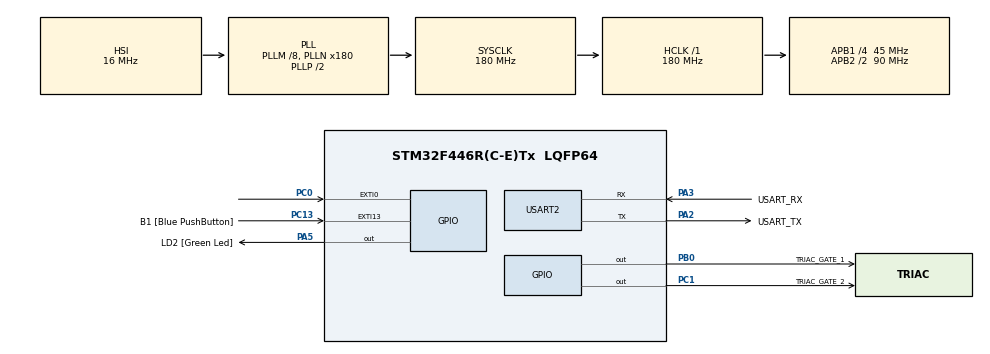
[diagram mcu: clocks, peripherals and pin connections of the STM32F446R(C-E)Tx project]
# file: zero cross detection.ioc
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Mcu.Family=STM32F4
Mcu.Name=STM32F446R(C-E)Tx
Mcu.Package=LQFP64
NVIC.EXTI0_IRQn=true\:0\:0\:false\:false\:true\:true\:true\:true
NVIC.EXTI15_10_IRQn=true\:0\:0\:false\:false\:true\:true\:true\:true
NVIC.PriorityGroup=NVIC_PRIORITYGROUP_0
NVIC.TIM3_IRQn=true\:1\:0\:false\:false\:true\:true\:true\:true
NVIC.USART2_IRQn=true\:2\:0\:false\:false\:true\:true\:true\:true
PA13.GPIO_Label=TMS
PA13.Mode=Serial_Wire
PA13.Signal=SYS_JTMS-SWDIO
PA14.GPIO_Label=TCK
PA14.Mode=Serial_Wire
PA14.Signal=SYS_JTCK-SWCLK
PA2.GPIO_Label=USART_TX
PA2.Mode=Asynchronous
PA2.Signal=USART2_TX
PA3.GPIO_Label=USART_RX
PA3.Mode=Asynchronous
PA3.Signal=USART2_RX
PA5.GPIO_Label=LD2 [Green Led]
PA5.GPIO_PuPd=GPIO_NOPULL
PA5.Signal=GPIO_Output
PB0.GPIO_Label=TRIAC_GATE_1
PB0.GPIO_Speed=GPIO_SPEED_FREQ_HIGH
PB0.Signal=GPIO_Output
PC1.GPIO_Label=TRIAC_GATE_2
PC1.GPIO_Speed=GPIO_SPEED_FREQ_HIGH
PC1.Signal=GPIO_Output
PB3.GPIO_Label=SWO
PB3.Signal=SYS_JTDO-SWO
PC0.GPIO_ModeDefaultEXTI=GPIO_MODE_IT_RISING
PC0.GPIO_PuPd=GPIO_PULLUP
PC0.Signal=GPXTI0
PC13.GPIO_Label=B1 [Blue PushButton]
PC13.GPIO_ModeDefaultEXTI=GPIO_MODE_IT_FALLING
PC13.Signal=GPXTI13
PC14-OSC32_IN.Mode=LSE-External-Oscillator
PC14-OSC32_IN.Signal=RCC_OSC32_IN
PC15-OSC32_OUT.Mode=LSE-External-Oscillator
PC15-OSC32_OUT.Signal=RCC_OSC32_OUT
PH0-OSC_IN.Mode=HSE-External-Oscillator
PH0-OSC_IN.Signal=RCC_OSC_IN
PH1-OSC_OUT.Mode=HSE-External-Oscillator
PH1-OSC_OUT.Signal=RCC_OSC_OUT
ProjectManager.HeapSize=0x200
ProjectManager.StackSize=0x400
ProjectManager.TargetToolchain=STM32CubeIDE
RCC.48MHZClocksFreq_Value=84000000
RCC.AHBFreq_Value=180000000
RCC.APB1CLKDivider=RCC_HCLK_DIV4
RCC.APB1Freq_Value=45000000
RCC.APB1TimFreq_Value=90000000
RCC.APB2CLKDivider=RCC_HCLK_DIV2
RCC.APB2Freq_Value=90000000
RCC.APB2TimFreq_Value=180000000
RCC.CortexFreq_Value=180000000
RCC.FLatency-AdvancedSettings=FLASH_LATENCY_5
RCC.HCLKFreq_Value=180000000
RCC.HSE_VALUE=8000000
RCC.HSI_VALUE=16000000
RCC.PLLM=8
RCC.PLLN=180
RCC.SYSCLKFreq_VALUE=180000000
RCC.SYSCLKSource=RCC_SYSCLKSOURCE_PLLCLK
RCC.USBFreq_Value=180000000
RCC.VCOOutputFreq_Value=360000000
TIM2.Prescaler=89
TIM3.Prescaler=89
TIM3.Period=10000
USART2.VirtualMode=VM_ASYNC
VP_TIM2_VS_ClockSourceINT.Mode=Internal
VP_TIM3_VS_ClockSourceINT.Mode=Internal
board=NUCLEO-F446RE

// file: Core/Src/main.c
/* USER CODE BEGIN Header */
/**
  ******************************************************************************
  * @file           : main.c
  * @brief          : Digital Phase Controller (TCA785-like)
  ******************************************************************************
  * HARDWARE (STM32 Nucleo F446RE):
  *   PC0  = Zero Cross input  (H11AA1 optocoupler, rising edge EXTI)
  *   PB0  = TRIAC gate output (active HIGH pulse)
  *   PA5  = LD2 LED — toggles on each zero crossing
  *   PA2  = USART2 TX (115200 baud)
  *   PA3  = USART2 RX (115200 baud)
  *
  * HOW IT WORKS:
  *   1. EXTI0 fires on PC0 rising edge (zero crossing detected)
  *   2. ISR resets TIM3, loads firing_delay into CCR1, starts TIM3
  *   3. TIM3 CC1 interrupt fires after firing_delay microseconds
  *   4. CC1 ISR drives PB0 HIGH for gate_pulse_width, then LOW
  *   5. User sends "P=xx" via UART to set power level (0-100%)
  *
  * FORMULA:
  *   firing_delay_us = (100 - power_level) * 100
  *   e.g. P=50 → delay=5000us, P=100 → delay=0us, P=0 → delay=10000us
  ******************************************************************************
  */
/* USER CODE END Header */
#include "main.h"

/* USER CODE BEGIN Includes */
#include <stdio.h>
#include <string.h>
#include <stdlib.h>
/* USER CODE END Includes */

/* USER CODE BEGIN PD */
#define HALF_CYCLE_US      10000    /* 10ms half-cycle for 50Hz AC             */
#define GATE_PULSE_US      100      /* 100us gate pulse width                  */
#define ZCD_OFFSET_US      0        /* Optocoupler alignment offset (tune me!) */
#define DEFAULT_POWER      0        /* Default power level at startup (OFF)    */
#define UART_BUF_SIZE      32       /* UART receive buffer size                */
/* USER CODE END PD */

TIM_HandleTypeDef htim2;
TIM_HandleTypeDef htim3;

UART_HandleTypeDef huart2;

/* USER CODE BEGIN PV */
#ifndef TRIAC_GATE_1_Pin
#define TRIAC_GATE_1_Pin GPIO_PIN_0
#define TRIAC_GATE_1_GPIO_Port GPIOB
#define TRIAC_GATE_2_Pin GPIO_PIN_1
#define TRIAC_GATE_2_GPIO_Port GPIOC
#endif

/* ==================== PHASE CONTROL STATE ==================== */
volatile uint32_t power_level    = DEFAULT_POWER;    /* 0-100%                */
volatile uint32_t firing_delay   = HALF_CYCLE_US;    /* Delay in microseconds */

/* ==================== UART RECEIVE STATE ==================== */
uint8_t  uart_rx_byte;                               /* Single byte RX buffer */
char     uart_rx_buf[UART_BUF_SIZE];                 /* Command accumulator   */
uint8_t  uart_rx_idx = 0;                            /* Current index         */
volatile uint8_t new_command = 0;                    /* Flag: command ready   */

/* USER CODE END PV */

void SystemClock_Config(void);
static void MX_GPIO_Init(void);
static void MX_TIM2_Init(void);
static void MX_USART2_UART_Init(void);
/* USER CODE BEGIN PFP */
static void MX_TIM3_Init(void);
/* USER CODE END PFP */

/* USER CODE BEGIN 0 */

/* ======================== HELPER ======================== */
void UART_Print(const char *str)
{
    HAL_UART_Transmit(&huart2, (uint8_t*)str, strlen(str), 100);
}

/* ======================== CALLBACKS ======================== */

/* ==================== ZCD STATE ==================== */
volatile uint32_t last_capture = 0;
volatile uint32_t measured_half_cycle = HALF_CYCLE_US;
volatile uint8_t  is_positive_half = 0;

/**
  * @brief  Zero Crossing ISR — fires on every rising edge on PC0
  *         Resets TIM3, loads firing delay, starts the one-shot timer.
  */
void HAL_GPIO_EXTI_Callback(uint16_t GPIO_Pin)
{
    if (GPIO_Pin == GPIO_PIN_0)
    {
        /* Measure the actual AC frequency period */
        uint32_t now = __HAL_TIM_GET_COUNTER(&htim2);
        uint32_t diff = now - last_capture;

        /* Anti-bounce: Ignore bounces/noise (anything faster than 1ms / 1000Hz) */
        if (diff < 1000) {
            return; /* Absolutely ignore this noise spike! */
        }

        last_capture = now;

        /* If the reading is within reasonable 50/60Hz bounds (e.g. 5ms to 12ms) */
        if (diff >= 5000 && diff <= 12000) {
            /* Apply simple smoothing filter: 80% old, 20% new */
            uint32_t raw_half_cycle = ((measured_half_cycle * 4) + diff) / 5;

            /* Convert half-cycle period directly to frequency (Hz) */
            float freq = 1000000.0f / (float)(raw_half_cycle * 2);

            /* Offset/Snap-to-Grid Logic:
               Lock strictly to 50Hz or 60Hz if we're close (within 1 Hz either way) */
            if (freq >= 49.0f && freq <= 51.0f) {
                measured_half_cycle = 10000;   /* Exactly 50Hz (10,000us half-cycle) */
            }
            else if (freq >= 59.0f && freq <= 61.0f) {
                measured_half_cycle = 8333;    /* Exactly 60Hz (8,333us half-cycle)  */
            }
            else {
                /* If it's a completely weird frequency, just use the raw rounded value */
                measured_half_cycle = raw_half_cycle;
            }
        }

        /* Toggle LED to show zero crossing is being detected */
        HAL_GPIO_TogglePin(LD2_GPIO_Port, LD2_Pin);

        /* Flip our half-cycle state. Starts at 0, first pulse makes it 1 (0-180deg) */
        is_positive_half = !is_positive_half;

        /* Pulse on BOTH the positive and negative half-cycles (0-180 and 180-360) */
        // if (!is_positive_half) {
        //     return;
        // }

        /* 0 = 0 (0% power = no firing) */
        if (power_level == 0)
        {
            HAL_GPIO_WritePin(TRIAC_GATE_1_GPIO_Port, TRIAC_GATE_1_Pin, GPIO_PIN_RESET);
            HAL_GPIO_WritePin(TRIAC_GATE_2_GPIO_Port, TRIAC_GATE_2_Pin, GPIO_PIN_RESET);
            return;
        }

        /* Calculate new delay based on the LIVE measured frequency instead of hardcoded 10ms */
        firing_delay = (uint32_t)(100 - power_level) * (measured_half_cycle / 100);

        /* Apply a slight offset compensation. Optocouplers usually trigger slightly
         * BEFORE or AFTER the true 0V mark. You can tune ZCD_OFFSET_US at the top
         * of the file (e.g. +250 or -100) to perfectly align your scope. */
        int32_t tuned_delay = (int32_t)firing_delay + ZCD_OFFSET_US;

        /* 100% power minimum delay. We need a tiny delay so the AC voltage rises
         * enough to latch the TRIAC. If it's too short, the TRIAC won't turn on. */
        if (tuned_delay < 300) {
            tuned_delay = 300;
        }

        /* 0% power maximum delay. If you want it exactly ON the zero cross,
         * we allow it to go all the way up to measured_half_cycle. */
        if (tuned_delay > (int32_t)measured_half_cycle) {
            tuned_delay = measured_half_cycle;
        }

        /* Normal case: start TIM3 one-shot with firing_delay */
        __HAL_TIM_SET_COUNTER(&htim3, 0);
        __HAL_TIM_SET_COMPARE(&htim3, TIM_CHANNEL_1, (uint32_t)tuned_delay);
        __HAL_TIM_CLEAR_FLAG(&htim3, TIM_FLAG_CC1);
        HAL_TIM_OC_Start_IT(&htim3, TIM_CHANNEL_1);
    }
}
/**
  * @brief  TIM3 Output Compare callback — fires after firing_delay microseconds
  *         Generates TRIAC gate pulse then stops TIM3.
  */
void HAL_TIM_OC_DelayElapsedCallback(TIM_HandleTypeDef *htim)
{
    if (htim->Instance == TIM3)
    {
        /* Stop the timer immediately */
        HAL_TIM_OC_Stop_IT(&htim3, TIM_CHANNEL_1);

        /* Select which pin to fire based on the half-cycle state */
        uint16_t active_pin = is_positive_half ? TRIAC_GATE_1_Pin : TRIAC_GATE_2_Pin;
        GPIO_TypeDef* active_port = is_positive_half ? TRIAC_GATE_1_GPIO_Port : TRIAC_GATE_2_GPIO_Port;

        /* Generate gate pulse: HIGH for GATE_PULSE_US microseconds */
        HAL_GPIO_WritePin(active_port, active_pin, GPIO_PIN_SET);

        /* Busy-wait for gate pulse width using TIM2 free-running counter */
        uint32_t start = __HAL_TIM_GET_COUNTER(&htim2);
        while ((__HAL_TIM_GET_COUNTER(&htim2) - start) < GATE_PULSE_US) {}

        HAL_GPIO_WritePin(active_port, active_pin, GPIO_PIN_RESET);
    }
}

/**
  * @brief  UART RX complete callback — accumulates characters into buffer,
  *         triggers command parsing when '\r' or '\n' is received.
  */
void HAL_UART_RxCpltCallback(UART_HandleTypeDef *huart)
{
    if (huart->Instance == USART2)
    {
        if (uart_rx_byte == '\r' || uart_rx_byte == '\n')
        {
            if (uart_rx_idx > 0)
            {
                uart_rx_buf[uart_rx_idx] = '\0';
                new_command = 1;
                /* Echo newline to PuTTY */
                UART_Print("\r\n");
            }
            uart_rx_idx = 0;
        }
        else
        {
            if (uart_rx_idx < UART_BUF_SIZE - 1)
            {
                uart_rx_buf[uart_rx_idx++] = (char)uart_rx_byte;
                /* Echo the character back to PuTTY so the user sees what they type */
                HAL_UART_Transmit(&huart2, &uart_rx_byte, 1, 10);
            }
        }

        /* Re-arm UART receive for next byte */
        HAL_UART_Receive_IT(&huart2, &uart_rx_byte, 1);
    }
}

/**
  * @brief  Parse "P=xx" command and update power level / firing delay
  */
void Process_UART_Command(void)
{
    char msg[80];

    /* Ignore leading spaces or weird hidden characters just in case */
    char *cmd = uart_rx_buf;
    while (*cmd == ' ' || *cmd == '\t') cmd++;

    /* If the string is totally empty, just ignore it and don't print anything */
    if (strlen(cmd) == 0) return;

    /* Check if the user is asking for the frequency */
    if (strncmp(cmd, "freq", 4) == 0 || strncmp(cmd, "FREQ", 4) == 0)
    {
        uint32_t now = __HAL_TIM_GET_COUNTER(&htim2);
        /* If no pulse for >100ms, assume disconnected (100ms = 100000us) */
        if (last_capture == 0 || (now - last_capture) > 100000)
        {
            HAL_UART_Transmit(&huart2, (uint8_t*)"AC Status: No Connection\r\n", 26, 100);
            return;
        }

        float freq = 0.0f;
        if (measured_half_cycle > 0)
        {
            /* freq = 1 / period. Period = 2 * half_cycle */
            freq = 1000000.0f / (float)(measured_half_cycle * 2);
        }
        int len = sprintf(msg, "AC Frequency: %.2f Hz\r\n", freq);
        HAL_UART_Transmit(&huart2, (uint8_t*)msg, (uint16_t)len, 100);
        return;
    }

    /* `atoi` will gracefully convert any number string like "80" into 80.
       If someone types something that isn't a number like "hello", atoi returns 0. */
    int val = atoi(cmd);

    /* Clamp to 0-100 range */
    if (val < 0) val = 0;
    if (val > 100) val = 100;

    power_level  = (uint32_t)val;
    firing_delay = (uint32_t)(100 - power_level) * (measured_half_cycle / 100);

    int len = sprintf(msg, "OK | Power: %lu%% | Delay: %lu us\r\n",
                      power_level, firing_delay);
    HAL_UART_Transmit(&huart2, (uint8_t*)msg, (uint16_t)len, 100);
}

/* USER CODE END 0 */

int main(void)
{

  /* MCU Configuration--------------------------------------------------------*/

  /* Reset of all peripherals, Initializes the Flash interface and the Systick. */
  HAL_Init();

  /* Configure the system clock */
  SystemClock_Config();

  /* Initialize all configured peripherals */
  MX_GPIO_Init();
  MX_TIM2_Init();
  MX_USART2_UART_Init();
  /* USER CODE BEGIN 2 */

  MX_TIM3_Init(); /* Added manually because CubeMX wiped it */

  /* Start TIM2 free-running counter (1us per tick, used for timing) */
  HAL_TIM_Base_Start(&htim2);

  /* Start UART receive interrupt (single byte at a time) */
  HAL_UART_Receive_IT(&huart2, &uart_rx_byte, 1);

  /* Startup banner */
  UART_Print("\r\n\r\n");
  UART_Print("=========================================\r\n");
  UART_Print("  Digital Phase Controller (TCA785-like)\r\n");
  UART_Print("  STM32 Nucleo F446RE\r\n");
  UART_Print("  PC0 = ZCD input | PB0 = TRIAC gate\r\n");
  UART_Print("=========================================\r\n");
  UART_Print("  Send: P=0..100  (e.g. P=50)\r\n");
  UART_Print("=========================================\r\n\r\n");

  char msg[80];
  int len = sprintf(msg, "Current: Power=%lu%% | Delay=%lu us\r\n",
                    power_level, firing_delay);
  HAL_UART_Transmit(&huart2, (uint8_t*)msg, (uint16_t)len, 100);

  /* USER CODE END 2 */

  /* Infinite loop */
  while (1)
  {

    /* USER CODE BEGIN 3 */

    /* Process UART command if one is ready */
    if (new_command)
    {
        new_command = 0;
        Process_UART_Command();
    }
  }
  /* USER CODE END 3 */
}

void SystemClock_Config(void)
{
  RCC_OscInitTypeDef RCC_OscInitStruct = {0};
  RCC_ClkInitTypeDef RCC_ClkInitStruct = {0};

  /** Configure the main internal regulator output voltage
  */
  __HAL_RCC_PWR_CLK_ENABLE();
  __HAL_PWR_VOLTAGESCALING_CONFIG(PWR_REGULATOR_VOLTAGE_SCALE1);

  /** Initializes the RCC Oscillators according to the specified parameters
  * in the RCC_OscInitTypeDef structure.
  */
  RCC_OscInitStruct.OscillatorType = RCC_OSCILLATORTYPE_HSI;
  RCC_OscInitStruct.HSIState = RCC_HSI_ON;
  RCC_OscInitStruct.HSICalibrationValue = RCC_HSICALIBRATION_DEFAULT;
  RCC_OscInitStruct.PLL.PLLState = RCC_PLL_ON;
  RCC_OscInitStruct.PLL.PLLSource = RCC_PLLSOURCE_HSI;
  RCC_OscInitStruct.PLL.PLLM = 8;
  RCC_OscInitStruct.PLL.PLLN = 180;
  RCC_OscInitStruct.PLL.PLLP = RCC_PLLP_DIV2;
  RCC_OscInitStruct.PLL.PLLQ = 2;
  RCC_OscInitStruct.PLL.PLLR = 2;
  if (HAL_RCC_OscConfig(&RCC_OscInitStruct) != HAL_OK)
  {
    Error_Handler();
  }

  /** Activate the Over-Drive mode
  */
  if (HAL_PWREx_EnableOverDrive() != HAL_OK)
  {
    Error_Handler();
  }

  /** Initializes the CPU, AHB and APB buses clocks
  */
  RCC_ClkInitStruct.ClockType = RCC_CLOCKTYPE_HCLK|RCC_CLOCKTYPE_SYSCLK
                              |RCC_CLOCKTYPE_PCLK1|RCC_CLOCKTYPE_PCLK2;
  RCC_ClkInitStruct.SYSCLKSource = RCC_SYSCLKSOURCE_PLLCLK;
  RCC_ClkInitStruct.AHBCLKDivider = RCC_SYSCLK_DIV1;
  RCC_ClkInitStruct.APB1CLKDivider = RCC_HCLK_DIV4;
  RCC_ClkInitStruct.APB2CLKDivider = RCC_HCLK_DIV2;

  if (HAL_RCC_ClockConfig(&RCC_ClkInitStruct, FLASH_LATENCY_5) != HAL_OK)
  {
    Error_Handler();
  }
}

static void MX_TIM2_Init(void)
{

  TIM_ClockConfigTypeDef sClockSourceConfig = {0};
  TIM_MasterConfigTypeDef sMasterConfig = {0};

  htim2.Instance = TIM2;
  htim2.Init.Prescaler = 89;
  htim2.Init.CounterMode = TIM_COUNTERMODE_UP;
  htim2.Init.Period = 4294967295;
  htim2.Init.ClockDivision = TIM_CLOCKDIVISION_DIV1;
  htim2.Init.AutoReloadPreload = TIM_AUTORELOAD_PRELOAD_DISABLE;
  if (HAL_TIM_Base_Init(&htim2) != HAL_OK)
  {
    Error_Handler();
  }
  sClockSourceConfig.ClockSource = TIM_CLOCKSOURCE_INTERNAL;
  if (HAL_TIM_ConfigClockSource(&htim2, &sClockSourceConfig) != HAL_OK)
  {
    Error_Handler();
  }
  sMasterConfig.MasterOutputTrigger = TIM_TRGO_RESET;
  sMasterConfig.MasterSlaveMode = TIM_MASTERSLAVEMODE_DISABLE;
  if (HAL_TIMEx_MasterConfigSynchronization(&htim2, &sMasterConfig) != HAL_OK)
  {
    Error_Handler();
  }

}

static void MX_USART2_UART_Init(void)
{

  huart2.Instance = USART2;
  huart2.Init.BaudRate = 115200;
  huart2.Init.WordLength = UART_WORDLENGTH_8B;
  huart2.Init.StopBits = UART_STOPBITS_1;
  huart2.Init.Parity = UART_PARITY_NONE;
  huart2.Init.Mode = UART_MODE_TX_RX;
  huart2.Init.HwFlowCtl = UART_HWCONTROL_NONE;
  huart2.Init.OverSampling = UART_OVERSAMPLING_16;
  if (HAL_UART_Init(&huart2) != HAL_OK)
  {
    Error_Handler();
  }

}

static void MX_GPIO_Init(void)
{
  GPIO_InitTypeDef GPIO_InitStruct = {0};

  /* GPIO Ports Clock Enable */
  __HAL_RCC_GPIOC_CLK_ENABLE();
  __HAL_RCC_GPIOH_CLK_ENABLE();
  __HAL_RCC_GPIOA_CLK_ENABLE();
  __HAL_RCC_GPIOB_CLK_ENABLE();

  /*Configure GPIO pin Output Level */
  HAL_GPIO_WritePin(LD2_GPIO_Port, LD2_Pin, GPIO_PIN_RESET);

  /*Configure GPIO pin : B1_Pin */
  GPIO_InitStruct.Pin = B1_Pin;
  GPIO_InitStruct.Mode = GPIO_MODE_IT_FALLING;
  GPIO_InitStruct.Pull = GPIO_NOPULL;
  HAL_GPIO_Init(B1_GPIO_Port, &GPIO_InitStruct);

  /*Configure GPIO pin : PC0 */
  GPIO_InitStruct.Pin = GPIO_PIN_0;
  GPIO_InitStruct.Mode = GPIO_MODE_IT_RISING;
  GPIO_InitStruct.Pull = GPIO_PULLUP;
  HAL_GPIO_Init(GPIOC, &GPIO_InitStruct);

  /*Configure GPIO pin : LD2_Pin */
  GPIO_InitStruct.Pin = LD2_Pin;
  GPIO_InitStruct.Mode = GPIO_MODE_OUTPUT_PP;
  GPIO_InitStruct.Pull = GPIO_NOPULL;
  GPIO_InitStruct.Speed = GPIO_SPEED_FREQ_LOW;
  HAL_GPIO_Init(LD2_GPIO_Port, &GPIO_InitStruct);

  /* EXTI interrupt init*/
  HAL_NVIC_SetPriority(EXTI0_IRQn, 0, 0);
  HAL_NVIC_EnableIRQ(EXTI0_IRQn);

  HAL_NVIC_SetPriority(EXTI15_10_IRQn, 0, 0);
  HAL_NVIC_EnableIRQ(EXTI15_10_IRQn);

  /* USER CODE BEGIN MX_GPIO_Init_2 */
  /* Enable TIM3 clock and Interrupt manually (CubeMX wiped it from MSP) */
  __HAL_RCC_TIM3_CLK_ENABLE();
  HAL_NVIC_SetPriority(TIM3_IRQn, 1, 0);
  HAL_NVIC_EnableIRQ(TIM3_IRQn);

  /* Enable USART2 RX Interrupt manually */
  HAL_NVIC_SetPriority(USART2_IRQn, 2, 0);
  HAL_NVIC_EnableIRQ(USART2_IRQn);

  /* Set TRIAC pin manually just in case */
  HAL_GPIO_WritePin(TRIAC_GATE_1_GPIO_Port, TRIAC_GATE_1_Pin, GPIO_PIN_RESET);
  HAL_GPIO_WritePin(TRIAC_GATE_2_GPIO_Port, TRIAC_GATE_2_Pin, GPIO_PIN_RESET);

  GPIO_InitStruct.Pin = TRIAC_GATE_1_Pin;
  GPIO_InitStruct.Mode = GPIO_MODE_OUTPUT_PP;
  GPIO_InitStruct.Pull = GPIO_NOPULL;
  GPIO_InitStruct.Speed = GPIO_SPEED_FREQ_HIGH;
  HAL_GPIO_Init(TRIAC_GATE_1_GPIO_Port, &GPIO_InitStruct);

  GPIO_InitStruct.Pin = TRIAC_GATE_2_Pin;
  GPIO_InitStruct.Mode = GPIO_MODE_OUTPUT_PP;
  GPIO_InitStruct.Pull = GPIO_NOPULL;
  GPIO_InitStruct.Speed = GPIO_SPEED_FREQ_HIGH;
  HAL_GPIO_Init(TRIAC_GATE_2_GPIO_Port, &GPIO_InitStruct);
  /* USER CODE END MX_GPIO_Init_2 */
}

/* USER CODE BEGIN 4 */
/**
  * @brief TIM3 Initialization Function — Phase delay one-shot timer
  *        PSC=89 → 90MHz/90 = 1MHz = 1us per tick
  *        ARR=10000 → max 10ms (one AC half-cycle at 50Hz)
  *        OC1 used in Timing mode (no pin output, interrupt only)
  */
static void MX_TIM3_Init(void)
{
  TIM_ClockConfigTypeDef sClockSourceConfig = {0};
  TIM_MasterConfigTypeDef sMasterConfig = {0};
  TIM_OC_InitTypeDef sConfigOC = {0};

  htim3.Instance = TIM3;
  htim3.Init.Prescaler = 89;
  htim3.Init.CounterMode = TIM_COUNTERMODE_UP;
  htim3.Init.Period = 10000;
  htim3.Init.ClockDivision = TIM_CLOCKDIVISION_DIV1;
  htim3.Init.AutoReloadPreload = TIM_AUTORELOAD_PRELOAD_DISABLE;
  if (HAL_TIM_Base_Init(&htim3) != HAL_OK)
  {
    Error_Handler();
  }
  sClockSourceConfig.ClockSource = TIM_CLOCKSOURCE_INTERNAL;
  if (HAL_TIM_ConfigClockSource(&htim3, &sClockSourceConfig) != HAL_OK)
  {
    Error_Handler();
  }
  if (HAL_TIM_OC_Init(&htim3) != HAL_OK)
  {
    Error_Handler();
  }
  sMasterConfig.MasterOutputTrigger = TIM_TRGO_RESET;
  sMasterConfig.MasterSlaveMode = TIM_MASTERSLAVEMODE_DISABLE;
  if (HAL_TIMEx_MasterConfigSynchronization(&htim3, &sMasterConfig) != HAL_OK)
  {
    Error_Handler();
  }
  sConfigOC.OCMode = TIM_OCMODE_TIMING;
  sConfigOC.Pulse = 5000;
  sConfigOC.OCPolarity = TIM_OCPOLARITY_HIGH;
  sConfigOC.OCFastMode = TIM_OCFAST_DISABLE;
  if (HAL_TIM_OC_ConfigChannel(&htim3, &sConfigOC, TIM_CHANNEL_1) != HAL_OK)
  {
    Error_Handler();
  }
}

/* USER CODE END 4 */

void Error_Handler(void)
{
  __disable_irq();
  while (1)
  {
  }
}
